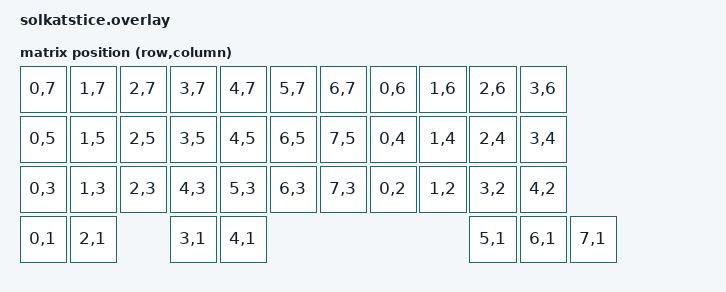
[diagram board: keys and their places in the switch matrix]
#include <dt-bindings/zmk/bt.h>
#include <input/processors.dtsi>
#include <dt-bindings/zmk/input_transform.h>
#include <zephyr/dt-bindings/input/input-event-codes.h>.
#include "solkatstice_pinctrl.dtsi"
#include "solkatstice.dtsi"
#include <dt-bindings/zmk/matrix_transform.h>
#include <behaviors/rgbled_widget.dtsi>

/ {
    chosen {
        zephyr,display = &oled;
    };

    default_transform: keymap_transform_0 {
      compatible = "zmk,matrix-transform";
      columns = <7>;
      rows = <7>;

      map = <
        RC(0,7)   RC(1,7)   RC(2,7)   RC(3,7)   RC(4,7)   RC(5,7)   RC(6,7)   RC(0,6)   RC(1,6)   RC(2,6)   RC(3,6)
        RC(0,5)   RC(1,5)   RC(2,5)   RC(3,5)   RC(4,5)   RC(6,5)   RC(7,5)   RC(0,4)   RC(1,4)   RC(2,4)   RC(3,4)
        RC(0,3)   RC(1,3)   RC(2,3)   RC(4,3)   RC(5,3)   RC(6,3)   RC(7,3)   RC(0,2)   RC(1,2)   RC(3,2)   RC(4,2)   
        RC(0,1)   RC(2,1)             RC(3,1)   RC(4,1)                                           RC(5,1)   RC(6,1)   RC(7,1) 
        >;
    };
    
    sideband_behaviors {
        compatible = "zmk,kscan-sideband-behaviors";
        auto-enable;
        kscan = <&kscan1>;

        ain0: ain0 {
            column = <0>;
            bindings = <&mLCTL>;
        };
        key1: key1 {
            column = <1>;
            bindings = <&mF13>;
        };
        key2: key2 {
            column = <2>;
            bindings = <&mF14>;
        };
        key3: key3 {
            column = <3>;
            bindings = <&mF15>;
        };
        key4: key4 {
            column = <4>;
            bindings = <&mF16>;
        };
        key5: key5 {
            column = <5>;
            bindings = <&mF17>;
        };
        key6: key6 {
            column = <6>;
            bindings = <&mF18>;
        };
    }; 

    aliases {
        led-red = &led0;
        led-green = &led1;
        led-blue = &led2;
    };

    leds {
        compatible = "gpio-leds";
        status = "okay";
        led0: led_0 {
            gpios = <&gpio0 26 GPIO_ACTIVE_LOW>;  // red LED, connected to P0.26
        };
        led1: led_1 {
            gpios = <&gpio0 30 GPIO_ACTIVE_LOW>;  // green LED, connected to P0.30
        };
        led2: led_2 {
            gpios = <&gpio0 6 GPIO_ACTIVE_LOW>;  // blue LED, connected to P0.06
        };
    };

    anin0: analog_input_0 {
        compatible = "zmk,analog-input";
        sampling-hz = <100>;
        y-ch {
            io-channels = <&adc 1>;
            mv-mid = <1300>;
            mv-min-max = <1600>;
            mv-deadzone = <500>;
            scale-multiplier = <1>;
            scale-divisor = <300>;
            #invert;
            evt-type = <INPUT_EV_REL>;
            input-code = <INPUT_REL_Y>;
        };
        x-ch {
            io-channels = <&adc 0>;
            mv-mid = <1300>;
            mv-min-max = <1600>;
            mv-deadzone = <500>;
            scale-multiplier = <1>;
            scale-divisor = <300>;
            #invert;
            evt-type = <INPUT_EV_REL>;
            input-code = <INPUT_REL_X>;
        };
    };
    
    analog_input_listener {
        status = "okay";
        compatible = "zmk,input-listener";
        device = <&anin0>;
        input-processors = <&zip_xy_to_scroll_mapper>;
    };

    trackball_listener {
        status = "okay";
        compatible = "zmk,input-listener";
        device = <&trackball>;
        input-processors = <&zip_temp_layer 3 1000>;
        scroll {
            layers = <2>;
            input-processors = <&zip_xy_transform (INPUT_TRANSFORM_Y_INVERT)>, <&zip_xy_scaler 1 16>, <&zip_xy_to_scroll_mapper>;
        };
    };
}; 
